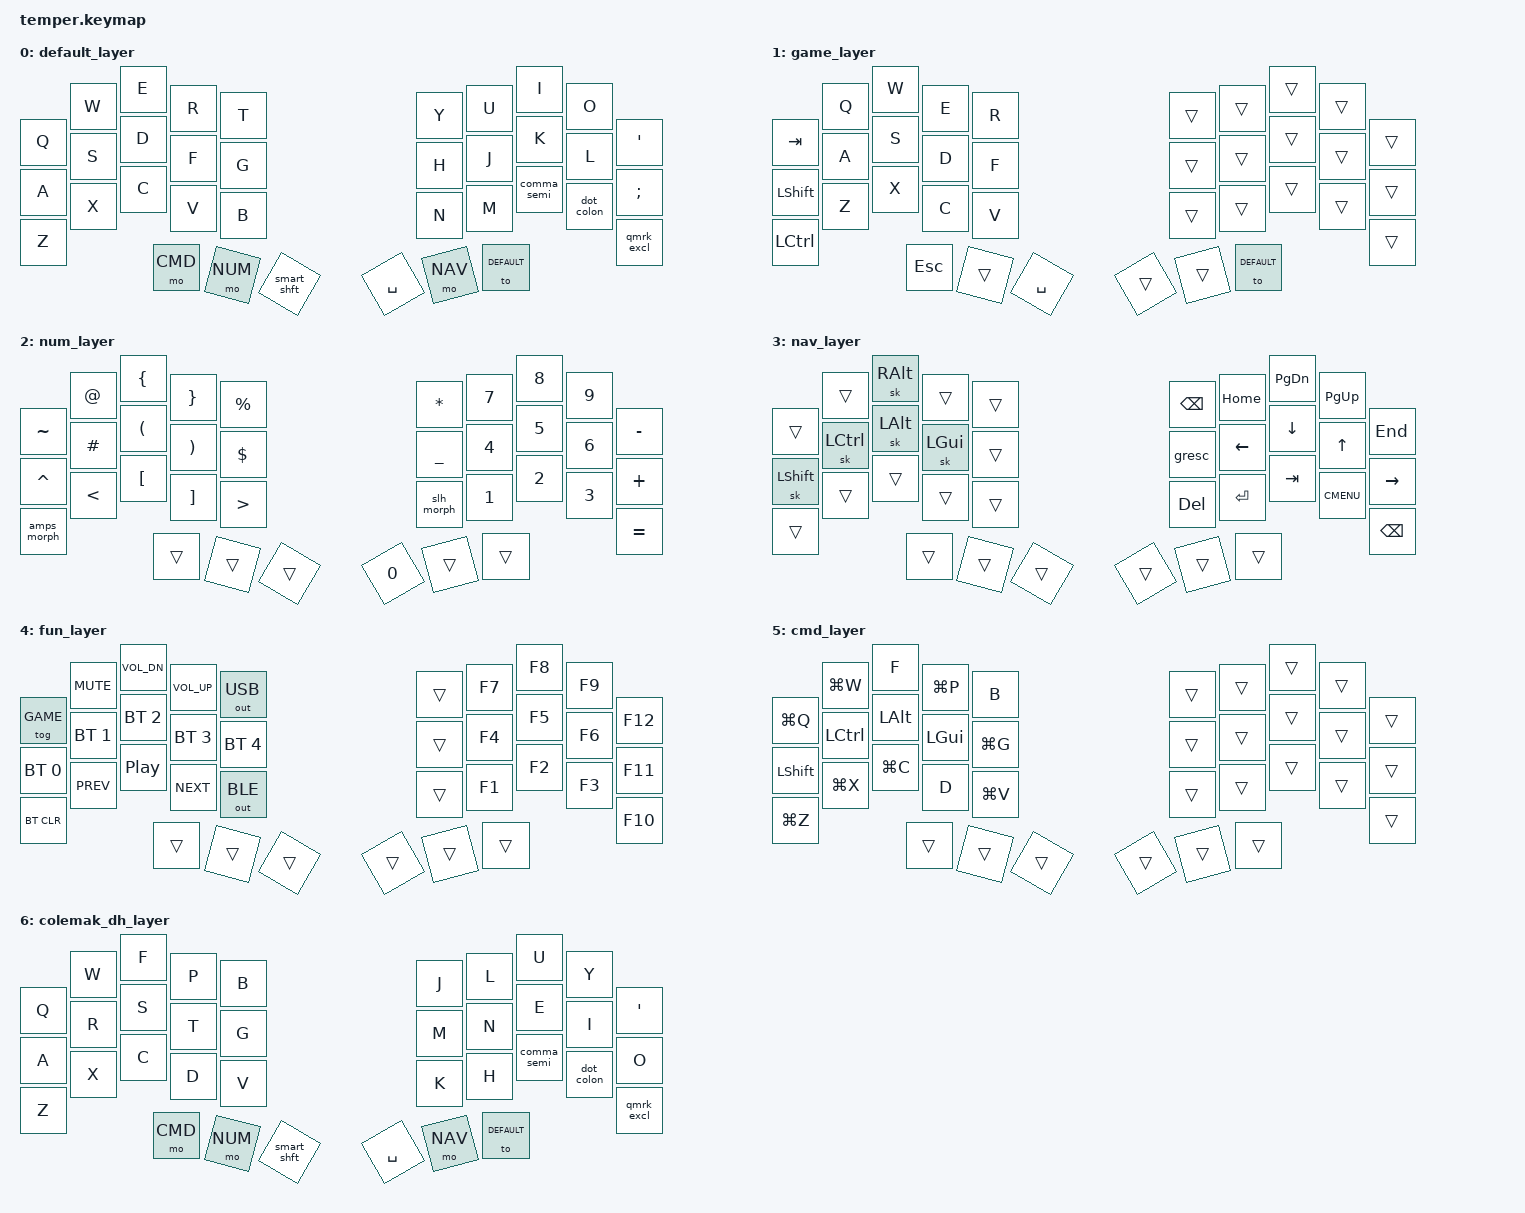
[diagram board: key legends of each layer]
/*
 * Copyright (c) 2020 The ZMK Contributors
 *
 * SPDX-License-Identifier: MIT
 */

#include <behaviors.dtsi>
#include <dt-bindings/zmk/keys.h>
#include <dt-bindings/zmk/bt.h>
#include <dt-bindings/zmk/outputs.h>

#define DEFAULT 0
#define GAME 1
#define NUM 2
#define NAV 3
#define FUN 4
#define CMD 5

# define ______ &trans

/ {
    conditional_layers {
        compatible = "zmk,conditional-layers";
        tri_layer {
            if-layers = <NUM NAV>;
            then-layer = <FUN>;
        };
    };
    behaviors {
        bspc_del: backspace_delete { // TODO Not in use
            compatible = "zmk,behavior-mod-morph";
            #binding-cells = <0>;
            bindings = <&kp BACKSPACE>, <&kp DELETE>;
            mods = <(MOD_LSFT|MOD_RSFT)>;
            keep-mods = <(MOD_RSFT)>;
        };
        super_bspc: super_backspace { // TODO Not in use
            compatible = "zmk,behavior-mod-morph";
            #binding-cells = <0>;
            bindings = <&kp BACKSPACE>, <&kp LA(BACKSPACE)>;
            mods = <(MOD_LSFT|MOD_RSFT)>;
        };
        smart_shft: smart_shift {
            compatible = "zmk,behavior-mod-morph";
            #binding-cells = <0>;
            bindings = <&kp LSHFT>, <&caps_word>;
            mods = <(MOD_LSFT)>;
        };
        comma_semi: comma_semi {
            compatible = "zmk,behavior-mod-morph";
            #binding-cells = <0>;
            bindings = <&kp COMMA>, <&kp P>; // because colemak_dh is used in system p = <&kp SEMI>;
            mods = <(MOD_LSFT)>;
        };
        dot_colon: dot_colon {
            compatible = "zmk,behavior-mod-morph";
            #binding-cells = <0>;
            bindings = <&kp DOT>, <&kp P>; // because colemak_dh is used in system shift+p = <&kp COLON>;
            mods = <(MOD_LSFT)>;
            keep-mods = <(MOD_LSFT)>;
        };
        qmrk_excl: qmrk_excl {
            compatible = "zmk,behavior-mod-morph";
            #binding-cells = <0>;
            bindings = <&kp QMARK>, <&kp EXCL>;
            mods = <(MOD_LSFT)>;
        };
        slh_morph: slh_morph {
            compatible = "zmk,behavior-mod-morph";
            #binding-cells = <0>;
            bindings = <&kp FSLH>, <&kp BSLH>;
            mods = <(MOD_LSFT)>;
        };
        amps_morph: amps_morph {
            compatible = "zmk,behavior-mod-morph";
            #binding-cells = <0>;
            bindings = <&kp AMPS>, <&kp PIPE>;
            mods = <(MOD_LSFT)>;
        };
    };
    // TODO Workspace, workspace manipulering, danske bogstaver, tal+modifiers, sticky layers?
        keymap {
                compatible = "zmk,keymap";

                default_layer {
                        bindings = <
// ╭─────────────┬─────────────┬─────────────┬─────────────┬─────────────╮   ╭─────────────┬─────────────┬─────────────┬─────────────┬─────────────╮
        &kp Q         &kp W         &kp E         &kp R         &kp T             &kp Y         &kp U         &kp I         &kp O       &kp APOS   
// ├─────────────┼─────────────┼─────────────┼─────────────┼─────────────┤   ├─────────────┼─────────────┼─────────────┼─────────────┼─────────────┤
        &kp A         &kp S         &kp D         &kp F         &kp G             &kp H         &kp J         &kp K         &kp L       &kp SEMI
// ├─────────────┼─────────────┼─────────────┼─────────────┼─────────────┤   ├─────────────┼─────────────┼─────────────┼─────────────┼─────────────┤
        &kp Z         &kp X         &kp C         &kp V         &kp B             &kp N         &kp M      &comma_semi    &dot_colon   &qmrk_excl
// ╰─────────────┴─────────────┼─────────────┼─────────────┼─────────────┤   ├─────────────┼─────────────┼─────────────┼─────────────┴─────────────╯
                                   &mo CMD       &mo NUM     &smart_shft        &kp SPACE      &mo NAV     &to DEFAULT // TODO super? repeat?
//                             ╰─────────────┴─────────────┴─────────────╯   ╰─────────────┴─────────────┴─────────────╯
                        >;
                };
                game_layer {
                        bindings = <
// ╭─────────────┬─────────────┬─────────────┬─────────────┬─────────────╮   ╭─────────────┬─────────────┬─────────────┬─────────────┬─────────────╮
        &kp TAB       &kp Q         &kp W         &kp E         &kp R             ______        ______        ______        ______        ______  
// ├─────────────┼─────────────┼─────────────┼─────────────┼─────────────┤   ├─────────────┼─────────────┼─────────────┼─────────────┼─────────────┤
       &kp LSHFT      &kp A         &kp S         &kp D         &kp F             ______        ______        ______        ______        ______
// ├─────────────┼─────────────┼─────────────┼─────────────┼─────────────┤   ├─────────────┼─────────────┼─────────────┼─────────────┼─────────────┤
       &kp LCTRL      &kp Z         &kp X         &kp C         &kp V             ______        ______        ______        ______        ______
// ╰─────────────┴─────────────┼─────────────┼─────────────┼─────────────┤   ├─────────────┼─────────────┼─────────────┼─────────────┴─────────────╯
                                    &kp ESC       ______      &kp SPACE           ______        ______     &to DEFAULT
//                             ╰─────────────┴─────────────┴─────────────╯   ╰─────────────┴─────────────┴─────────────╯
                        >;
                };
                num_layer {
                        bindings = <
// ╭─────────────┬─────────────┬─────────────┬─────────────┬─────────────╮   ╭─────────────┬─────────────┬─────────────┬─────────────┬─────────────╮
      &kp TILDE       &kp AT       &kp LBRC      &kp RBRC     &kp PRCNT          &kp STAR       &kp N7        &kp N8        &kp N9      &kp MINUS
// ├─────────────┼─────────────┼─────────────┼─────────────┼─────────────┤   ├─────────────┼─────────────┼─────────────┼─────────────┼─────────────┤
      &kp CARET      &kp HASH      &kp LPAR      &kp RPAR      &kp DLLR         &kp UNDER       &kp N4        &kp N5        &kp N6      &kp PLUS
// ├─────────────┼─────────────┼─────────────┼─────────────┼─────────────┤   ├─────────────┼─────────────┼─────────────┼─────────────┼─────────────┤
     &amps_morph      &kp LT       &kp LBKT      &kp RBKT       &kp GT          &slh_morph      &kp N1        &kp N2        &kp N3      &kp EQUAL
// ╰─────────────┴─────────────┼─────────────┼─────────────┼─────────────┤   ├─────────────┼─────────────┼─────────────┼─────────────┴─────────────╯
                                    ______        ______        ______            &kp N0        ______        ______
//                             ╰─────────────┴─────────────┴─────────────╯   ╰─────────────┴─────────────┴─────────────╯
                        >;
                };

                nav_layer {
                        bindings = <
// ╭─────────────┬─────────────┬─────────────┬─────────────┬─────────────╮   ╭─────────────┬─────────────┬─────────────┬─────────────┬─────────────╮
        ______        ______       &sk RALT        ______        ______          &kp BSPC      &kp HOME     &kp PG_DN     &kp PG_UP      &kp END
// ├─────────────┼─────────────┼─────────────┼─────────────┼─────────────┤   ├─────────────┼─────────────┼─────────────┼─────────────┼─────────────┤
      &sk LSHFT     &sk LCTRL      &sk LALT      &sk LGUI       ______           &gresc        &kp LEFT     &kp DOWN       &kp UP       &kp RIGHT
// ├─────────────┼─────────────┼─────────────┼─────────────┼─────────────┤   ├─────────────┼─────────────┼─────────────┼─────────────┼─────────────┤
        ______        ______        ______        ______        ______           &kp DEL       &kp RET        &kp TAB    &kp K_CMENU    &kp BSPC
// ╰─────────────┴─────────────┼─────────────┼─────────────┼─────────────┤   ├─────────────┼─────────────┼─────────────┼─────────────┴─────────────╯
                                    ______        ______        ______            ______        ______        ______
//                             ╰─────────────┴─────────────┴─────────────╯   ╰─────────────┴─────────────┴─────────────╯
                        >;
                };

                fun_layer {
                        bindings = <
// ╭─────────────┬─────────────┬─────────────┬─────────────┬─────────────╮   ╭─────────────┬─────────────┬─────────────┬─────────────┬─────────────╮
      &tog GAME    &kp K_MUTE    &kp C_VOL_DN  &kp C_VOL_UP  &out OUT_USB         ______        &kp F7        &kp F8        &kp F9       &kp F12
// ├─────────────┼─────────────┼─────────────┼─────────────┼─────────────┤   ├─────────────┼─────────────┼─────────────┼─────────────┼─────────────┤
     &bt BT_SEL 0  &bt BT_SEL 1  &bt BT_SEL 2  &bt BT_SEL 3  &bt BT_SEL 4         ______        &kp F4        &kp F5        &kp F6       &kp F11
// ├─────────────┼─────────────┼─────────────┼─────────────┼─────────────┤   ├─────────────┼─────────────┼─────────────┼─────────────┼─────────────┤
      &bt BT_CLR    &kp C_PREV     &kp C_PP     &kp C_NEXT   &out OUT_BLE         ______        &kp F1        &kp F2        &kp F3       &kp F10
// ╰─────────────┴─────────────┼─────────────┼─────────────┼─────────────┤   ├─────────────┼─────────────┼─────────────┼─────────────┴─────────────╯
                                    ______        ______        ______            ______        ______        ______
//                             ╰─────────────┴─────────────┴─────────────╯   ╰─────────────┴─────────────┴─────────────╯
                        >;
                };

                cmd_layer {
                        bindings = <
// ╭─────────────┬─────────────┬─────────────┬─────────────┬─────────────╮   ╭─────────────┬─────────────┬─────────────┬─────────────┬─────────────╮
       &kp LG(Q)    &kp LG(W)       &kp F       &kp LG(P)       &kp B             ______        ______        ______        ______        ______  
// ├─────────────┼─────────────┼─────────────┼─────────────┼─────────────┤   ├─────────────┼─────────────┼─────────────┼─────────────┼─────────────┤
       &kp LSHFT    &kp LCTRL     &kp LALT      &kp LGUI      &kp LG(G)           ______        ______        ______        ______        ______
// ├─────────────┼─────────────┼─────────────┼─────────────┼─────────────┤   ├─────────────┼─────────────┼─────────────┼─────────────┼─────────────┤
       &kp LG(Z)    &kp LG(X)     &kp LG(C)       &kp D       &kp LG(V)           ______        ______        ______        ______        ______
// ╰─────────────┴─────────────┼─────────────┼─────────────┼─────────────┤   ├─────────────┼─────────────┼─────────────┼─────────────┴─────────────╯
                                    ______        ______        ______            ______        ______        ______
//                             ╰─────────────┴─────────────┴─────────────╯   ╰─────────────┴─────────────┴─────────────╯
                        >;
                };

                colemak_dh_layer {
                        bindings = <
// ╭─────────────┬─────────────┬─────────────┬─────────────┬─────────────╮   ╭─────────────┬─────────────┬─────────────┬─────────────┬─────────────╮
        &kp Q         &kp W         &kp F         &kp P         &kp B             &kp J         &kp L         &kp U         &kp Y       &kp APOS   
// ├─────────────┼─────────────┼─────────────┼─────────────┼─────────────┤   ├─────────────┼─────────────┼─────────────┼─────────────┼─────────────┤
        &kp A         &kp R         &kp S         &kp T         &kp G             &kp M         &kp N         &kp E         &kp I         &kp O
// ├─────────────┼─────────────┼─────────────┼─────────────┼─────────────┤   ├─────────────┼─────────────┼─────────────┼─────────────┼─────────────┤
        &kp Z         &kp X         &kp C         &kp D         &kp V             &kp K         &kp H      &comma_semi    &dot_colon    &qmrk_excl
// ╰─────────────┴─────────────┼─────────────┼─────────────┼─────────────┤   ├─────────────┼─────────────┼─────────────┼─────────────┴─────────────╯
                                   &mo CMD       &mo NUM     &smart_shft        &kp SPACE      &mo NAV     &to DEFAULT
//                             ╰─────────────┴─────────────┴─────────────╯   ╰─────────────┴─────────────┴─────────────╯
                        >;
                };
        };
};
